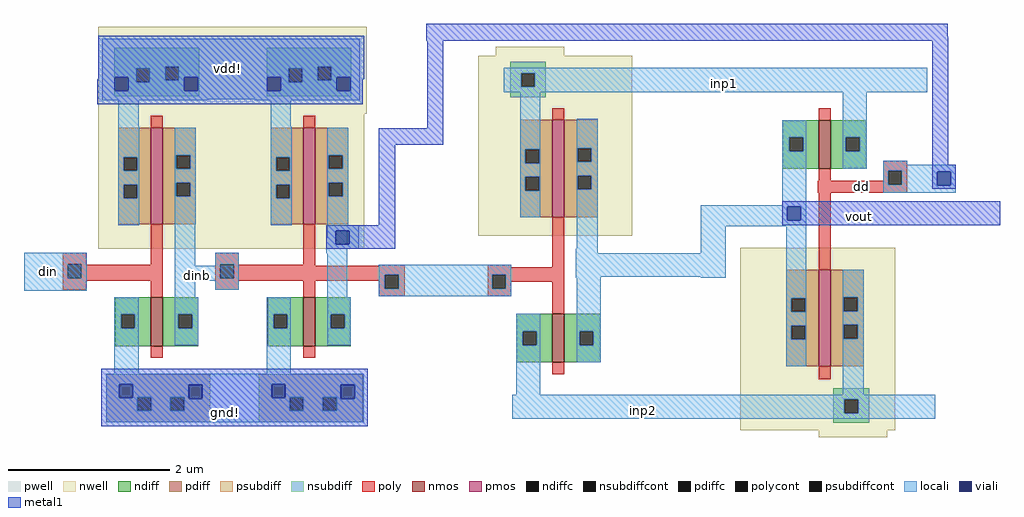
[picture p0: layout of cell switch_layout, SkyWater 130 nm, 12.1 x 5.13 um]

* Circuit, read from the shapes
.subckt switch_layout dd din dinb gnd! inp1 inp2 vdd! vout
XM1 dinb din gnd! gnd! sky130_fd_pr__nfet_01v8 w=0.61 l=0.15
XM2 dd dinb gnd! gnd! sky130_fd_pr__nfet_01v8 w=0.61 l=0.15
XM3 vout dinb inp2 gnd! sky130_fd_pr__nfet_01v8 w=0.6 l=0.15
XM4 inp1 dd vout gnd! sky130_fd_pr__nfet_01v8 w=0.6 l=0.15
XM5 dinb din vdd! vdd! sky130_fd_pr__pfet_01v8 w=1.2 l=0.15
XM6 dd dinb vdd! vdd! sky130_fd_pr__pfet_01v8 w=1.2 l=0.15
XM7 vout dinb inp1 inp1 sky130_fd_pr__pfet_01v8 w=1.21 l=0.15
XM8 inp2 dd vout inp2 sky130_fd_pr__pfet_01v8 w=1.2 l=0.15
.ends

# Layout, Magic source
magic
tech sky130A
magscale 1 2
<< nwell >>
rect 506 622 602 1172
rect 1210 1100 1380 1122
rect 1166 654 1548 1100
rect 1816 172 2200 624
rect 2010 154 2180 172
<< nmos >>
rect 2010 820 2040 940
rect 1350 340 1380 460
<< pmos >>
rect 1350 700 1380 942
rect 2010 330 2040 570
<< ndiff >>
rect 1920 898 2010 940
rect 1920 864 1938 898
rect 1972 864 2010 898
rect 1920 820 2010 864
rect 2040 898 2130 940
rect 2040 864 2078 898
rect 2112 864 2130 898
rect 2040 820 2130 864
rect 1260 417 1350 460
rect 1260 383 1277 417
rect 1311 383 1350 417
rect 1260 340 1350 383
rect 1380 417 1470 460
rect 1380 383 1418 417
rect 1452 383 1470 417
rect 1380 340 1470 383
<< pdiff >>
rect 1270 868 1350 942
rect 1270 834 1283 868
rect 1317 834 1350 868
rect 1270 800 1350 834
rect 1270 766 1283 800
rect 1317 766 1350 800
rect 1270 700 1350 766
rect 1380 871 1462 942
rect 1380 837 1413 871
rect 1447 837 1462 871
rect 1380 803 1462 837
rect 1380 769 1413 803
rect 1447 769 1462 803
rect 1380 700 1462 769
rect 1930 499 2010 570
rect 1930 465 1943 499
rect 1977 465 2010 499
rect 1930 431 2010 465
rect 1930 397 1943 431
rect 1977 397 2010 431
rect 1930 330 2010 397
rect 2040 501 2122 570
rect 2040 467 2073 501
rect 2107 467 2122 501
rect 2040 433 2122 467
rect 2040 399 2073 433
rect 2107 399 2122 433
rect 2040 330 2122 399
<< ndiffc >>
rect 1938 864 1972 898
rect 2078 864 2112 898
rect 1277 383 1311 417
rect 1418 383 1452 417
<< pdiffc >>
rect 1283 834 1317 868
rect 1283 766 1317 800
rect 1413 837 1447 871
rect 1413 769 1447 803
rect 1943 465 1977 499
rect 1943 397 1977 431
rect 2073 467 2107 501
rect 2073 399 2107 433
<< nsubdiff >>
rect 1246 1057 1334 1086
rect 1246 1023 1273 1057
rect 1307 1023 1334 1057
rect 1246 998 1334 1023
rect 2046 248 2136 276
rect 2046 214 2074 248
rect 2108 214 2136 248
rect 2046 190 2136 214
<< nsubdiffcont >>
rect 1273 1023 1307 1057
rect 2074 214 2108 248
<< poly >>
rect 1350 942 1380 970
rect 2010 940 2040 970
rect 2010 790 2040 820
rect 2170 815 2230 840
rect 2170 790 2183 815
rect 2008 781 2183 790
rect 2217 781 2230 815
rect 2008 760 2230 781
rect 920 580 984 582
rect 730 557 984 580
rect 730 542 935 557
rect 920 523 935 542
rect 969 523 984 557
rect 920 504 984 523
rect 1190 576 1248 582
rect 1350 576 1380 700
rect 1190 557 1380 576
rect 2010 570 2040 760
rect 1190 523 1201 557
rect 1235 540 1380 557
rect 1235 523 1248 540
rect 1190 504 1248 523
rect 1350 460 1380 540
rect 1350 310 1380 340
rect 2010 298 2040 330
<< polycont >>
rect 2183 781 2217 815
rect 935 523 969 557
rect 1201 523 1235 557
<< locali >>
rect 492 992 612 1142
rect 1230 1057 2280 1070
rect 1230 1023 1273 1057
rect 1307 1023 2280 1057
rect 1230 1010 2280 1023
rect 1270 868 1320 1010
rect 1270 834 1283 868
rect 1317 834 1320 868
rect 1270 800 1320 834
rect 1270 766 1283 800
rect 1317 766 1320 800
rect 1270 700 1320 766
rect 1410 871 1462 944
rect 1410 837 1413 871
rect 1447 837 1462 871
rect 1410 803 1462 837
rect 1410 769 1413 803
rect 1447 769 1462 803
rect 842 680 844 682
rect 840 670 870 680
rect 810 667 870 670
rect 810 648 813 667
rect 790 633 813 648
rect 847 633 870 667
rect 790 630 870 633
rect 40 518 196 612
rect 790 610 834 630
rect 840 622 870 630
rect 1410 622 1462 769
rect 1920 898 1980 940
rect 1920 864 1938 898
rect 1972 864 1980 898
rect 1920 730 1980 864
rect 2070 898 2130 1010
rect 2070 864 2078 898
rect 2112 864 2130 898
rect 2070 820 2130 864
rect 2170 830 2230 840
rect 2170 815 2350 830
rect 2170 781 2183 815
rect 2217 813 2350 815
rect 2217 781 2304 813
rect 2170 779 2304 781
rect 2338 779 2350 813
rect 2170 760 2350 779
rect 1408 610 1462 622
rect 1718 726 1980 730
rect 1718 692 1932 726
rect 1966 692 1980 726
rect 1718 678 1980 692
rect 1718 610 1780 678
rect 414 542 570 580
rect 920 557 1248 582
rect 920 523 935 557
rect 969 523 1201 557
rect 1235 523 1248 557
rect 1408 552 1780 610
rect 1408 550 1470 552
rect 1718 550 1780 552
rect 920 504 1248 523
rect 1260 417 1320 460
rect 1260 383 1277 417
rect 1311 383 1320 417
rect 502 192 622 312
rect 1260 260 1320 383
rect 1410 417 1470 550
rect 1410 383 1418 417
rect 1452 383 1470 417
rect 1410 340 1470 383
rect 1930 499 1980 678
rect 1930 465 1943 499
rect 1977 465 1980 499
rect 1930 431 1980 465
rect 1930 397 1943 431
rect 1977 397 1980 431
rect 1930 330 1980 397
rect 2070 501 2122 570
rect 2070 467 2073 501
rect 2107 467 2122 501
rect 2070 433 2122 467
rect 2070 399 2073 433
rect 2107 399 2122 433
rect 2070 260 2122 399
rect 1250 248 2300 260
rect 1250 214 2074 248
rect 2108 214 2300 248
rect 1250 200 2300 214
<< viali >>
rect 813 633 847 667
rect 2304 779 2338 813
rect 1932 692 1966 726
<< metal1 >>
rect 502 980 602 1150
rect 1038 1148 2330 1180
rect 1038 1138 2332 1148
rect 1040 920 1080 1138
rect 920 880 1080 920
rect 920 680 960 880
rect 2292 830 2332 1138
rect 2292 813 2350 830
rect 2292 779 2304 813
rect 2338 779 2350 813
rect 2292 770 2350 779
rect 1920 726 2460 740
rect 1920 692 1932 726
rect 1966 692 2460 726
rect 1920 680 2460 692
rect 790 667 960 680
rect 790 633 813 667
rect 847 633 960 667
rect 790 622 960 633
rect 512 182 612 324
use INV  INV_1
transform 1 0 224 0 1 622
box -88 -440 290 550
use INV  INV_0
transform 1 0 602 0 1 622
box -88 -440 290 550
<< labels >>
rlabel metal1 s 544 1068 544 1068 4 vdd!
rlabel metal1 s 540 216 540 216 4 gnd!
rlabel locali s 1576 220 1576 220 4 inp2
rlabel locali s 1778 1032 1778 1032 4 inp1
rlabel locali s 100 566 100 566 4 din
rlabel locali s 470 556 470 556 4 dinb
rlabel poly s 2116 776 2116 776 4 dd
rlabel metal1 s 2112 702 2112 702 4 vout
<< end >>

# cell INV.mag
magic
tech sky130A
magscale 1 2
<< nwell >>
rect 0 334 288 550
rect 0 0 282 334
<< pwell >>
rect 20 -430 278 -312
<< nmos >>
rect 130 -242 160 -120
<< pmos >>
rect 130 60 160 300
<< ndiff >>
rect 42 -163 130 -120
rect 42 -197 57 -163
rect 91 -197 130 -163
rect 42 -242 130 -197
rect 160 -163 248 -120
rect 160 -197 199 -163
rect 233 -197 248 -163
rect 160 -242 248 -197
<< pdiff >>
rect 50 227 130 300
rect 50 193 63 227
rect 97 193 130 227
rect 50 159 130 193
rect 50 125 63 159
rect 97 125 130 159
rect 50 60 130 125
rect 160 232 242 300
rect 160 198 194 232
rect 228 198 242 232
rect 160 164 242 198
rect 160 130 194 164
rect 228 130 242 164
rect 160 60 242 130
<< ndiffc >>
rect 57 -197 91 -163
rect 199 -197 233 -163
<< pdiffc >>
rect 63 193 97 227
rect 63 125 97 159
rect 194 198 228 232
rect 194 130 228 164
<< psubdiff >>
rect 20 -368 278 -312
rect 20 -402 97 -368
rect 131 -402 179 -368
rect 213 -402 278 -368
rect 20 -430 278 -402
<< nsubdiff >>
rect 40 451 250 498
rect 40 447 166 451
rect 40 413 94 447
rect 128 417 166 447
rect 200 417 250 451
rect 128 413 250 417
rect 40 378 250 413
<< psubdiffcont >>
rect 97 -402 131 -368
rect 179 -402 213 -368
<< nsubdiffcont >>
rect 94 413 128 447
rect 166 417 200 451
<< poly >>
rect 130 300 160 330
rect -88 -39 -30 -10
rect -88 -73 -76 -39
rect -42 -40 -30 -39
rect 130 -40 160 60
rect -42 -73 160 -40
rect -88 -80 160 -73
rect -88 -102 -30 -80
rect 130 -120 160 -80
rect 130 -270 160 -242
<< polycont >>
rect -76 -73 -42 -39
<< locali >>
rect 10 451 270 520
rect 10 447 166 451
rect 10 425 94 447
rect 10 391 41 425
rect 75 413 94 425
rect 128 417 166 447
rect 200 425 270 451
rect 200 417 213 425
rect 128 413 213 417
rect 75 391 213 413
rect 247 391 270 425
rect 10 368 270 391
rect 50 302 100 368
rect 50 227 102 302
rect 50 193 63 227
rect 97 193 102 227
rect 50 159 102 193
rect 50 125 63 159
rect 97 125 102 159
rect 50 58 102 125
rect 190 232 242 300
rect 190 198 194 232
rect 228 198 242 232
rect 190 164 242 198
rect 190 130 194 164
rect 228 130 242 164
rect 190 60 242 130
rect -88 -39 -30 -10
rect -88 -73 -76 -39
rect -42 -73 -30 -39
rect -88 -102 -30 -73
rect 190 -120 240 60
rect 40 -163 100 -120
rect 40 -197 57 -163
rect 91 -197 100 -163
rect 40 -310 100 -197
rect 190 -163 248 -120
rect 190 -197 199 -163
rect 233 -197 248 -163
rect 190 -240 248 -197
rect 20 -336 280 -310
rect 20 -370 52 -336
rect 86 -338 280 -336
rect 86 -368 224 -338
rect 86 -370 97 -368
rect 20 -402 97 -370
rect 131 -402 179 -368
rect 213 -372 224 -368
rect 258 -372 280 -338
rect 213 -402 280 -372
rect 20 -430 280 -402
<< viali >>
rect 41 391 75 425
rect 213 391 247 425
rect 52 -370 86 -336
rect 224 -372 258 -338
<< metal1 >>
rect 0 425 282 528
rect 0 420 41 425
rect -2 391 41 420
rect 75 391 213 425
rect 247 420 282 425
rect 247 391 278 420
rect -2 358 278 391
rect 8 -336 290 -298
rect 8 -370 52 -336
rect 86 -338 290 -336
rect 86 -370 224 -338
rect 8 -372 224 -370
rect 258 -372 290 -338
rect 8 -440 290 -372
<< end >>
